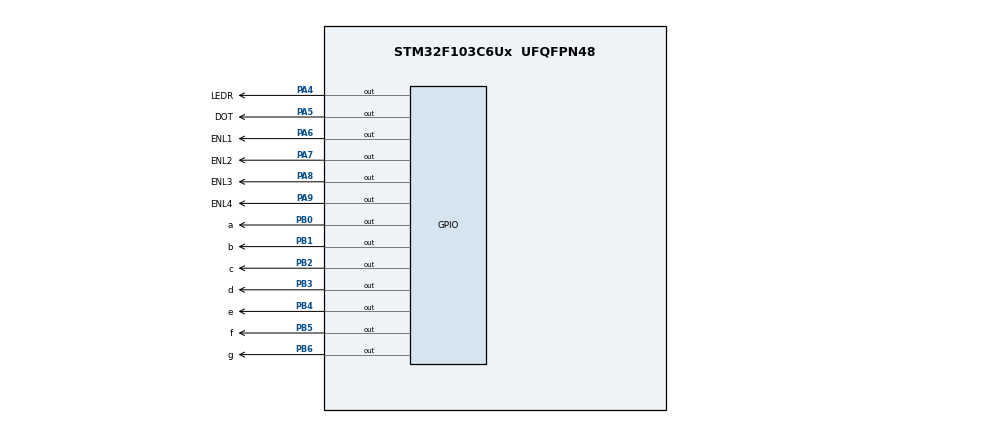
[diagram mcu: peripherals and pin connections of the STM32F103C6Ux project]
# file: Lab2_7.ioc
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Mcu.Family=STM32F1
Mcu.Name=STM32F103C6Ux
Mcu.Package=UFQFPN48
NVIC.PriorityGroup=NVIC_PRIORITYGROUP_4
NVIC.TIM2_IRQn=true\:0\:0\:false\:false\:true\:true\:true\:true
PA4.GPIO_Label=LEDR
PA4.Signal=GPIO_Output
PA5.GPIO_Label=DOT
PA5.Signal=GPIO_Output
PA6.GPIO_Label=ENL1
PA6.Signal=GPIO_Output
PA7.GPIO_Label=ENL2
PA7.Signal=GPIO_Output
PA8.GPIO_Label=ENL3
PA8.Signal=GPIO_Output
PA9.GPIO_Label=ENL4
PA9.Signal=GPIO_Output
PB0.GPIO_Label=a
PB0.Signal=GPIO_Output
PB1.GPIO_Label=b
PB1.Signal=GPIO_Output
PB2.GPIO_Label=c
PB2.Signal=GPIO_Output
PB3.GPIO_Label=d
PB3.Signal=GPIO_Output
PB4.GPIO_Label=e
PB4.Signal=GPIO_Output
PB5.GPIO_Label=f
PB5.Signal=GPIO_Output
PB6.GPIO_Label=g
PB6.Signal=GPIO_Output
ProjectManager.HeapSize=0x200
ProjectManager.StackSize=0x400
ProjectManager.TargetToolchain=STM32CubeIDE
RCC.APB1Freq_Value=8000000
RCC.APB2Freq_Value=8000000
TIM2.Period=9
TIM2.Prescaler=7999
VP_TIM2_VS_ClockSourceINT.Mode=Internal
board=custom

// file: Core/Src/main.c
/* USER CODE BEGIN Header */
/**
  ******************************************************************************
  * @file           : main.c
  * @brief          : Main program body
  ******************************************************************************
  * @attention
  *
  * Copyright (c) 2022 STMicroelectronics.
  * All rights reserved.
  *
  * This software is licensed under terms that can be found in the LICENSE file
  * in the root directory of this software component.
  * If no LICENSE file comes with this software, it is provided AS-IS.
  *
  ******************************************************************************
  */
/* USER CODE END Header */
#include "main.h"

TIM_HandleTypeDef htim2;

void SystemClock_Config(void);
static void MX_GPIO_Init(void);
static void MX_TIM2_Init(void);

/* USER CODE BEGIN 0 */

int counter = 50;
int counter1 = 100;
int counter2 = 10;
int check = 0;

int clk_hour =15, clk_minute = 5, clk_second = 50;
int led_buffer[4] = {1,2,3,4};
int led_index = 0;

int timer0_counter = 0;
int timer0_flag = 0;
int timer1_flag = 0;
int TIMER_CYCLE = 10;

void updateClockBuffer();
void display7SEG(int num);
void setTimer0(int duration);
void timer_run();
/* USER CODE END 0 */

int main(void)
{

  /* MCU Configuration--------------------------------------------------------*/

  /* Reset of all peripherals, Initializes the Flash interface and the Systick. */
  HAL_Init();

  /* Configure the system clock */
  SystemClock_Config();

  /* Initialize all configured peripherals */
  MX_GPIO_Init();
  MX_TIM2_Init();
  /* USER CODE BEGIN 2 */
  HAL_TIM_Base_Start_IT(&htim2);
  HAL_GPIO_WritePin(DOT_GPIO_Port, DOT_Pin, 0);
  HAL_GPIO_WritePin(ENL1_GPIO_Port, ENL1_Pin, 1);
  HAL_GPIO_WritePin(ENL2_GPIO_Port, ENL2_Pin, 1);
  HAL_GPIO_WritePin(ENL3_GPIO_Port, ENL3_Pin, 1);
  HAL_GPIO_WritePin(ENL4_GPIO_Port, ENL4_Pin, 1);
  /* USER CODE END 2 */

  /* Infinite loop */
  /* USER CODE BEGIN WHILE */
  setTimer0(1000);
  while (1)
  {
    /* USER CODE END WHILE */

    /* USER CODE BEGIN 3 */

	  if (timer0_flag == 1){
		  HAL_GPIO_TogglePin(LEDR_GPIO_Port, LEDR_Pin);
		  clk_second++;
		  if (clk_second >=60 ){
			  clk_second = 0;
			  clk_minute++;
		  }
		  if (clk_minute >=60 ){
			  clk_minute = 0;
			  clk_hour++;
		  }
		  if (clk_hour >= 24){
			  clk_hour = 0;
		  }

		  updateClockBuffer();
		  setTimer0(1000);
	  }
	  if (timer1_flag == 1 ){
		  if (led_index == 0) {
				HAL_GPIO_WritePin(ENL1_GPIO_Port, ENL1_Pin, 0);
				HAL_GPIO_WritePin(ENL2_GPIO_Port, ENL2_Pin, 1);
				HAL_GPIO_WritePin(ENL3_GPIO_Port, ENL3_Pin, 1);
				HAL_GPIO_WritePin(ENL4_GPIO_Port, ENL4_Pin, 1);
				display7SEG(led_buffer[led_index]);
			}
			else if (led_index == 1){
				HAL_GPIO_WritePin(ENL1_GPIO_Port, ENL1_Pin, 1);
				HAL_GPIO_WritePin(ENL2_GPIO_Port, ENL2_Pin, 0);
				HAL_GPIO_WritePin(ENL3_GPIO_Port, ENL3_Pin, 1);
				HAL_GPIO_WritePin(ENL4_GPIO_Port, ENL4_Pin, 1);
				display7SEG(led_buffer[led_index]);

			}
			else if (led_index == 2){
				HAL_GPIO_WritePin(ENL1_GPIO_Port, ENL1_Pin, 1);
				HAL_GPIO_WritePin(ENL2_GPIO_Port, ENL2_Pin, 1);
				HAL_GPIO_WritePin(ENL3_GPIO_Port, ENL3_Pin, 0);
				HAL_GPIO_WritePin(ENL4_GPIO_Port, ENL4_Pin, 1);
				display7SEG(led_buffer[led_index]);
			}
			else if (led_index == 3){
				HAL_GPIO_WritePin(ENL1_GPIO_Port, ENL1_Pin, 1);
				HAL_GPIO_WritePin(ENL2_GPIO_Port, ENL2_Pin, 1);
				HAL_GPIO_WritePin(ENL3_GPIO_Port, ENL3_Pin, 1);
				HAL_GPIO_WritePin(ENL4_GPIO_Port, ENL4_Pin, 0);
				display7SEG(led_buffer[led_index]);
			}
			led_index = (led_index+1)%4;
			timer1_flag = 0;
	  }

  }
  /* USER CODE END 3 */
}

void SystemClock_Config(void)
{
  RCC_OscInitTypeDef RCC_OscInitStruct = {0};
  RCC_ClkInitTypeDef RCC_ClkInitStruct = {0};

  /** Initializes the RCC Oscillators according to the specified parameters
  * in the RCC_OscInitTypeDef structure.
  */
  RCC_OscInitStruct.OscillatorType = RCC_OSCILLATORTYPE_HSI;
  RCC_OscInitStruct.HSIState = RCC_HSI_ON;
  RCC_OscInitStruct.HSICalibrationValue = RCC_HSICALIBRATION_DEFAULT;
  RCC_OscInitStruct.PLL.PLLState = RCC_PLL_NONE;
  if (HAL_RCC_OscConfig(&RCC_OscInitStruct) != HAL_OK)
  {
    Error_Handler();
  }

  /** Initializes the CPU, AHB and APB buses clocks
  */
  RCC_ClkInitStruct.ClockType = RCC_CLOCKTYPE_HCLK|RCC_CLOCKTYPE_SYSCLK
                              |RCC_CLOCKTYPE_PCLK1|RCC_CLOCKTYPE_PCLK2;
  RCC_ClkInitStruct.SYSCLKSource = RCC_SYSCLKSOURCE_HSI;
  RCC_ClkInitStruct.AHBCLKDivider = RCC_SYSCLK_DIV1;
  RCC_ClkInitStruct.APB1CLKDivider = RCC_HCLK_DIV1;
  RCC_ClkInitStruct.APB2CLKDivider = RCC_HCLK_DIV1;

  if (HAL_RCC_ClockConfig(&RCC_ClkInitStruct, FLASH_LATENCY_0) != HAL_OK)
  {
    Error_Handler();
  }
}

static void MX_TIM2_Init(void)
{

  TIM_ClockConfigTypeDef sClockSourceConfig = {0};
  TIM_MasterConfigTypeDef sMasterConfig = {0};

  htim2.Instance = TIM2;
  htim2.Init.Prescaler = 7999;
  htim2.Init.CounterMode = TIM_COUNTERMODE_UP;
  htim2.Init.Period = 9;
  htim2.Init.ClockDivision = TIM_CLOCKDIVISION_DIV1;
  htim2.Init.AutoReloadPreload = TIM_AUTORELOAD_PRELOAD_DISABLE;
  if (HAL_TIM_Base_Init(&htim2) != HAL_OK)
  {
    Error_Handler();
  }
  sClockSourceConfig.ClockSource = TIM_CLOCKSOURCE_INTERNAL;
  if (HAL_TIM_ConfigClockSource(&htim2, &sClockSourceConfig) != HAL_OK)
  {
    Error_Handler();
  }
  sMasterConfig.MasterOutputTrigger = TIM_TRGO_RESET;
  sMasterConfig.MasterSlaveMode = TIM_MASTERSLAVEMODE_DISABLE;
  if (HAL_TIMEx_MasterConfigSynchronization(&htim2, &sMasterConfig) != HAL_OK)
  {
    Error_Handler();
  }

}

static void MX_GPIO_Init(void)
{
  GPIO_InitTypeDef GPIO_InitStruct = {0};

  /* GPIO Ports Clock Enable */
  __HAL_RCC_GPIOA_CLK_ENABLE();
  __HAL_RCC_GPIOB_CLK_ENABLE();

  /*Configure GPIO pin Output Level */
  HAL_GPIO_WritePin(GPIOA, LEDR_Pin|DOT_Pin|ENL1_Pin|ENL2_Pin
                          |ENL3_Pin|ENL4_Pin, GPIO_PIN_RESET);

  /*Configure GPIO pin Output Level */
  HAL_GPIO_WritePin(GPIOB, a_Pin|b_Pin|c_Pin|d_Pin
                          |e_Pin|f_Pin|g_Pin, GPIO_PIN_RESET);

  /*Configure GPIO pins : LEDR_Pin DOT_Pin ENL1_Pin ENL2_Pin
                           ENL3_Pin ENL4_Pin */
  GPIO_InitStruct.Pin = LEDR_Pin|DOT_Pin|ENL1_Pin|ENL2_Pin
                          |ENL3_Pin|ENL4_Pin;
  GPIO_InitStruct.Mode = GPIO_MODE_OUTPUT_PP;
  GPIO_InitStruct.Pull = GPIO_NOPULL;
  GPIO_InitStruct.Speed = GPIO_SPEED_FREQ_LOW;
  HAL_GPIO_Init(GPIOA, &GPIO_InitStruct);

  /*Configure GPIO pins : a_Pin b_Pin c_Pin d_Pin
                           e_Pin f_Pin g_Pin */
  GPIO_InitStruct.Pin = a_Pin|b_Pin|c_Pin|d_Pin
                          |e_Pin|f_Pin|g_Pin;
  GPIO_InitStruct.Mode = GPIO_MODE_OUTPUT_PP;
  GPIO_InitStruct.Pull = GPIO_NOPULL;
  GPIO_InitStruct.Speed = GPIO_SPEED_FREQ_LOW;
  HAL_GPIO_Init(GPIOB, &GPIO_InitStruct);

}

/* USER CODE BEGIN 4 */
void updateClockBuffer(){
	if (clk_hour<9) led_buffer[0] = 0;
	else led_buffer[0] = clk_hour/10;
	if (clk_minute<9) led_buffer[2] = 0;
	else led_buffer[2] = clk_minute/10;

	led_buffer[1] = clk_hour%10;
	led_buffer[3] = clk_minute%10;
}
void setTimer0(int duration){
	timer0_counter = duration / TIMER_CYCLE;
	timer0_flag = 0;
	timer1_flag = 0;
}
void timer_run(){
	if (timer0_counter>0){
		timer0_counter--;
		if (timer0_counter == 0) timer0_flag = 1;
		if (timer0_counter % 10 == 0) timer1_flag = 1;
	}
}
void display7SEG(int num){
	if (num==1){
		HAL_GPIO_WritePin(a_GPIO_Port, a_Pin, 1);
		HAL_GPIO_WritePin(a_GPIO_Port, b_Pin, 0);
		HAL_GPIO_WritePin(a_GPIO_Port, c_Pin, 0);
		HAL_GPIO_WritePin(a_GPIO_Port, d_Pin, 1);
		HAL_GPIO_WritePin(a_GPIO_Port, e_Pin, 1);
		HAL_GPIO_WritePin(a_GPIO_Port, f_Pin, 1);
		HAL_GPIO_WritePin(a_GPIO_Port, g_Pin, 1);
	}
	else if (num==2){
		HAL_GPIO_WritePin(a_GPIO_Port, a_Pin, 0);
		HAL_GPIO_WritePin(a_GPIO_Port, b_Pin, 0);
		HAL_GPIO_WritePin(a_GPIO_Port, c_Pin, 1);
		HAL_GPIO_WritePin(a_GPIO_Port, d_Pin, 0);
		HAL_GPIO_WritePin(a_GPIO_Port, e_Pin, 0);
		HAL_GPIO_WritePin(a_GPIO_Port, f_Pin, 1);
		HAL_GPIO_WritePin(a_GPIO_Port, g_Pin, 0);
	}
	else if (num==3){
		HAL_GPIO_WritePin(a_GPIO_Port, a_Pin, 0);
		HAL_GPIO_WritePin(a_GPIO_Port, b_Pin, 0);
		HAL_GPIO_WritePin(a_GPIO_Port, c_Pin, 0);
		HAL_GPIO_WritePin(a_GPIO_Port, d_Pin, 0);
		HAL_GPIO_WritePin(a_GPIO_Port, e_Pin, 1);
		HAL_GPIO_WritePin(a_GPIO_Port, f_Pin, 1);
		HAL_GPIO_WritePin(a_GPIO_Port, g_Pin, 0);

	}
	else if (num==4){
		HAL_GPIO_WritePin(a_GPIO_Port, a_Pin, 1);
		HAL_GPIO_WritePin(a_GPIO_Port, b_Pin, 0);
		HAL_GPIO_WritePin(a_GPIO_Port, c_Pin, 0);
		HAL_GPIO_WritePin(a_GPIO_Port, d_Pin, 1);
		HAL_GPIO_WritePin(a_GPIO_Port, e_Pin, 1);
		HAL_GPIO_WritePin(a_GPIO_Port, f_Pin, 0);
		HAL_GPIO_WritePin(a_GPIO_Port, g_Pin, 0);
	}
	else if (num==5){
		HAL_GPIO_WritePin(a_GPIO_Port, a_Pin, 0);
		HAL_GPIO_WritePin(a_GPIO_Port, b_Pin, 1);
		HAL_GPIO_WritePin(a_GPIO_Port, c_Pin, 0);
		HAL_GPIO_WritePin(a_GPIO_Port, d_Pin, 0);
		HAL_GPIO_WritePin(a_GPIO_Port, e_Pin, 1);
		HAL_GPIO_WritePin(a_GPIO_Port, f_Pin, 0);
		HAL_GPIO_WritePin(a_GPIO_Port, g_Pin, 0);
	}
	else if (num==6){
		HAL_GPIO_WritePin(a_GPIO_Port, a_Pin, 0);
		HAL_GPIO_WritePin(a_GPIO_Port, b_Pin, 1);
		HAL_GPIO_WritePin(a_GPIO_Port, c_Pin, 0);
		HAL_GPIO_WritePin(a_GPIO_Port, d_Pin, 0);
		HAL_GPIO_WritePin(a_GPIO_Port, e_Pin, 0);
		HAL_GPIO_WritePin(a_GPIO_Port, f_Pin, 0);
		HAL_GPIO_WritePin(a_GPIO_Port, g_Pin, 0);
	}
	else if (num==7){
		HAL_GPIO_WritePin(a_GPIO_Port, a_Pin, 0);
		HAL_GPIO_WritePin(a_GPIO_Port, b_Pin, 0);
		HAL_GPIO_WritePin(a_GPIO_Port, c_Pin, 0);
		HAL_GPIO_WritePin(a_GPIO_Port, d_Pin, 1);
		HAL_GPIO_WritePin(a_GPIO_Port, e_Pin, 1);
		HAL_GPIO_WritePin(a_GPIO_Port, f_Pin, 1);
		HAL_GPIO_WritePin(a_GPIO_Port, g_Pin, 1);
	}
	else if (num==8){
		HAL_GPIO_WritePin(a_GPIO_Port, a_Pin, 0);
		HAL_GPIO_WritePin(a_GPIO_Port, b_Pin, 0);
		HAL_GPIO_WritePin(a_GPIO_Port, c_Pin, 0);
		HAL_GPIO_WritePin(a_GPIO_Port, d_Pin, 0);
		HAL_GPIO_WritePin(a_GPIO_Port, e_Pin, 0);
		HAL_GPIO_WritePin(a_GPIO_Port, f_Pin, 0);
		HAL_GPIO_WritePin(a_GPIO_Port, g_Pin, 0);
	}
	else if (num==9){
		HAL_GPIO_WritePin(a_GPIO_Port, a_Pin, 0);
		HAL_GPIO_WritePin(a_GPIO_Port, b_Pin, 0);
		HAL_GPIO_WritePin(a_GPIO_Port, c_Pin, 0);
		HAL_GPIO_WritePin(a_GPIO_Port, d_Pin, 0);
		HAL_GPIO_WritePin(a_GPIO_Port, e_Pin, 1);
		HAL_GPIO_WritePin(a_GPIO_Port, f_Pin, 0);
		HAL_GPIO_WritePin(a_GPIO_Port, g_Pin, 0);
	} else if (num==0){
		HAL_GPIO_WritePin(a_GPIO_Port, a_Pin, 0);
		HAL_GPIO_WritePin(a_GPIO_Port, b_Pin, 0);
		HAL_GPIO_WritePin(a_GPIO_Port, c_Pin, 0);
		HAL_GPIO_WritePin(a_GPIO_Port, d_Pin, 0);
		HAL_GPIO_WritePin(a_GPIO_Port, e_Pin, 0);
		HAL_GPIO_WritePin(a_GPIO_Port, f_Pin, 0);
		HAL_GPIO_WritePin(a_GPIO_Port, g_Pin, 1 );
	}
}
void HAL_TIM_PeriodElapsedCallback ( TIM_HandleTypeDef * htim )
{
	timer_run();
}
/* USER CODE END 4 */

void Error_Handler(void)
{
  __disable_irq();
  while (1)
  {
  }
}
